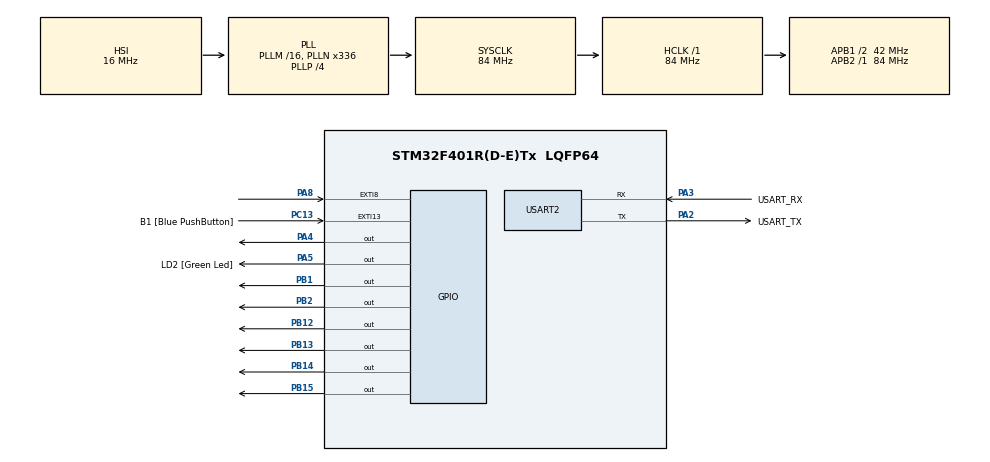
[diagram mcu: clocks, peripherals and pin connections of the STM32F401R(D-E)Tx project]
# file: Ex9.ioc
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Mcu.Family=STM32F4
Mcu.Name=STM32F401R(D-E)Tx
Mcu.Package=LQFP64
NVIC.EXTI9_5_IRQn=true\:0\:0\:false\:false\:true\:true\:true\:true
NVIC.PriorityGroup=NVIC_PRIORITYGROUP_0
PA13.GPIO_Label=TMS
PA13.Mode=Serial_Wire
PA13.Signal=SYS_JTMS-SWDIO
PA14.GPIO_Label=TCK
PA14.Mode=Serial_Wire
PA14.Signal=SYS_JTCK-SWCLK
PA2.GPIO_Label=USART_TX
PA2.GPIO_Mode=GPIO_MODE_AF_PP
PA2.GPIO_PuPd=GPIO_NOPULL
PA2.GPIO_Speed=GPIO_SPEED_FREQ_LOW
PA2.Mode=Asynchronous
PA2.Signal=USART2_TX
PA3.GPIO_Label=USART_RX
PA3.GPIO_Mode=GPIO_MODE_AF_PP
PA3.GPIO_PuPd=GPIO_NOPULL
PA3.GPIO_Speed=GPIO_SPEED_FREQ_LOW
PA3.Mode=Asynchronous
PA3.Signal=USART2_RX
PA4.Signal=GPIO_Output
PA5.GPIO_Label=LD2 [Green Led]
PA5.GPIO_Mode=GPIO_MODE_OUTPUT_PP
PA5.GPIO_PuPd=GPIO_NOPULL
PA5.GPIO_Speed=GPIO_SPEED_FREQ_LOW
PA5.Signal=GPIO_Output
PA8.Signal=GPXTI8
PB1.Signal=GPIO_Output
PB12.Signal=GPIO_Output
PB13.Signal=GPIO_Output
PB14.Signal=GPIO_Output
PB15.Signal=GPIO_Output
PB2.Signal=GPIO_Output
PB3.GPIO_Label=SWO
PB3.Signal=SYS_JTDO-SWO
PC13-ANTI_TAMP.GPIO_Label=B1 [Blue PushButton]
PC13-ANTI_TAMP.GPIO_ModeDefaultEXTI=GPIO_MODE_IT_FALLING
PC13-ANTI_TAMP.GPIO_PuPd=GPIO_NOPULL
PC13-ANTI_TAMP.Signal=GPXTI13
PC14-OSC32_IN.Mode=LSE-External-Oscillator
PC14-OSC32_IN.Signal=RCC_OSC32_IN
PC15-OSC32_OUT.Mode=LSE-External-Oscillator
PC15-OSC32_OUT.Signal=RCC_OSC32_OUT
PH0\ -\ OSC_IN.Mode=HSE-External-Clock-Source
PH0\ -\ OSC_IN.Signal=RCC_OSC_IN
PH1\ -\ OSC_OUT.Mode=HSE-External-Clock-Source
PH1\ -\ OSC_OUT.Signal=RCC_OSC_OUT
ProjectManager.HeapSize=0x200
ProjectManager.StackSize=0x400
ProjectManager.TargetToolchain=STM32CubeIDE
RCC.48MHZClocksFreq_Value=48000000
RCC.AHBFreq_Value=84000000
RCC.APB1CLKDivider=RCC_HCLK_DIV2
RCC.APB1Freq_Value=42000000
RCC.APB1TimFreq_Value=84000000
RCC.APB2Freq_Value=84000000
RCC.APB2TimFreq_Value=84000000
RCC.CortexFreq_Value=84000000
RCC.HCLKFreq_Value=84000000
RCC.HSE_VALUE=8000000
RCC.HSI_VALUE=16000000
RCC.PLLN=336
RCC.PLLP=RCC_PLLP_DIV4
RCC.PLLQ=7
RCC.SYSCLKFreq_VALUE=84000000
RCC.SYSCLKSource=RCC_SYSCLKSOURCE_PLLCLK
RCC.VCOOutputFreq_Value=336000000
USART2.VirtualMode=VM_ASYNC
board=NUCLEO-F401RE

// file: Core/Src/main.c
/* USER CODE BEGIN Header */
/**
  ******************************************************************************
  * @file           : main.c
  * @brief          : Main program body
  ******************************************************************************
  * @attention
  *
  * Copyright (c) 2023 STMicroelectronics.
  * All rights reserved.
  *
  * This software is licensed under terms that can be found in the LICENSE file
  * in the root directory of this software component.
  * If no LICENSE file comes with this software, it is provided AS-IS.
  *
  ******************************************************************************
  */
/* USER CODE END Header */
#include "main.h"

/* USER CODE BEGIN Includes */
#include "PMDB16_LCD.h"

/* USER CODE END Includes */

UART_HandleTypeDef huart2;

/* USER CODE BEGIN PV */
int snap=0;
char names[][20]={" ","GIADA", "WILLIAM", "FRANCESCO", "PAOLO", "FRANCESCO"};
char last_name[20];
/* USER CODE END PV */

void SystemClock_Config(void);
static void MX_GPIO_Init(void);
static void MX_USART2_UART_Init(void);

/* USER CODE BEGIN 0 */
void HAL_GPIO_EXTI_Callback(uint16_t GPIO_Pin){
	snap=1;
}
/* USER CODE END 0 */

int main(void)
{

  /* MCU Configuration--------------------------------------------------------*/

  /* Reset of all peripherals, Initializes the Flash interface and the Systick. */
  HAL_Init();

  /* Configure the system clock */
  SystemClock_Config();

  /* Initialize all configured peripherals */
  MX_GPIO_Init();
  MX_USART2_UART_Init();
  /* USER CODE BEGIN 2 */
  lcd_initialize();
  lcd_clear();
  lcd_backlight_ON();
  /* USER CODE END 2 */

  /* Infinite loop */
  /* USER CODE BEGIN WHILE */
  while (1)
  {
	  if(snap==0){
		  for (int i=0; i<sizeof(names);i++){
			  if(snap==1)
				  break;
			  lcd_println(names[i], 0);
			  if(i==5)
				  i=-1;
			  lcd_println(names[i+1], 1);
			  strcpy(last_name, names[i+1]);
			  HAL_Delay(1000);
		  }
	  }else if(snap==1){
		  lcd_clear();
		  HAL_Delay(500);
		  lcd_println(last_name, 1);
		  HAL_Delay(500);
	  }
    /* USER CODE END WHILE */

  }
}

void SystemClock_Config(void)
{
  RCC_OscInitTypeDef RCC_OscInitStruct = {0};
  RCC_ClkInitTypeDef RCC_ClkInitStruct = {0};

  /** Configure the main internal regulator output voltage
  */
  __HAL_RCC_PWR_CLK_ENABLE();
  __HAL_PWR_VOLTAGESCALING_CONFIG(PWR_REGULATOR_VOLTAGE_SCALE2);

  /** Initializes the RCC Oscillators according to the specified parameters
  * in the RCC_OscInitTypeDef structure.
  */
  RCC_OscInitStruct.OscillatorType = RCC_OSCILLATORTYPE_HSI;
  RCC_OscInitStruct.HSIState = RCC_HSI_ON;
  RCC_OscInitStruct.HSICalibrationValue = RCC_HSICALIBRATION_DEFAULT;
  RCC_OscInitStruct.PLL.PLLState = RCC_PLL_ON;
  RCC_OscInitStruct.PLL.PLLSource = RCC_PLLSOURCE_HSI;
  RCC_OscInitStruct.PLL.PLLM = 16;
  RCC_OscInitStruct.PLL.PLLN = 336;
  RCC_OscInitStruct.PLL.PLLP = RCC_PLLP_DIV4;
  RCC_OscInitStruct.PLL.PLLQ = 7;
  if (HAL_RCC_OscConfig(&RCC_OscInitStruct) != HAL_OK)
  {
    Error_Handler();
  }

  /** Initializes the CPU, AHB and APB buses clocks
  */
  RCC_ClkInitStruct.ClockType = RCC_CLOCKTYPE_HCLK|RCC_CLOCKTYPE_SYSCLK
                              |RCC_CLOCKTYPE_PCLK1|RCC_CLOCKTYPE_PCLK2;
  RCC_ClkInitStruct.SYSCLKSource = RCC_SYSCLKSOURCE_PLLCLK;
  RCC_ClkInitStruct.AHBCLKDivider = RCC_SYSCLK_DIV1;
  RCC_ClkInitStruct.APB1CLKDivider = RCC_HCLK_DIV2;
  RCC_ClkInitStruct.APB2CLKDivider = RCC_HCLK_DIV1;

  if (HAL_RCC_ClockConfig(&RCC_ClkInitStruct, FLASH_LATENCY_2) != HAL_OK)
  {
    Error_Handler();
  }
}

static void MX_USART2_UART_Init(void)
{

  huart2.Instance = USART2;
  huart2.Init.BaudRate = 115200;
  huart2.Init.WordLength = UART_WORDLENGTH_8B;
  huart2.Init.StopBits = UART_STOPBITS_1;
  huart2.Init.Parity = UART_PARITY_NONE;
  huart2.Init.Mode = UART_MODE_TX_RX;
  huart2.Init.HwFlowCtl = UART_HWCONTROL_NONE;
  huart2.Init.OverSampling = UART_OVERSAMPLING_16;
  if (HAL_UART_Init(&huart2) != HAL_OK)
  {
    Error_Handler();
  }

}

static void MX_GPIO_Init(void)
{
  GPIO_InitTypeDef GPIO_InitStruct = {0};

  /* GPIO Ports Clock Enable */
  __HAL_RCC_GPIOC_CLK_ENABLE();
  __HAL_RCC_GPIOH_CLK_ENABLE();
  __HAL_RCC_GPIOA_CLK_ENABLE();
  __HAL_RCC_GPIOB_CLK_ENABLE();

  /*Configure GPIO pin Output Level */
  HAL_GPIO_WritePin(GPIOA, GPIO_PIN_4|LD2_Pin, GPIO_PIN_RESET);

  /*Configure GPIO pin Output Level */
  HAL_GPIO_WritePin(GPIOB, GPIO_PIN_1|GPIO_PIN_2|GPIO_PIN_12|GPIO_PIN_13
                          |GPIO_PIN_14|GPIO_PIN_15, GPIO_PIN_RESET);

  /*Configure GPIO pin : B1_Pin */
  GPIO_InitStruct.Pin = B1_Pin;
  GPIO_InitStruct.Mode = GPIO_MODE_IT_FALLING;
  GPIO_InitStruct.Pull = GPIO_NOPULL;
  HAL_GPIO_Init(B1_GPIO_Port, &GPIO_InitStruct);

  /*Configure GPIO pins : PA4 LD2_Pin */
  GPIO_InitStruct.Pin = GPIO_PIN_4|LD2_Pin;
  GPIO_InitStruct.Mode = GPIO_MODE_OUTPUT_PP;
  GPIO_InitStruct.Pull = GPIO_NOPULL;
  GPIO_InitStruct.Speed = GPIO_SPEED_FREQ_LOW;
  HAL_GPIO_Init(GPIOA, &GPIO_InitStruct);

  /*Configure GPIO pins : PB1 PB2 PB12 PB13
                           PB14 PB15 */
  GPIO_InitStruct.Pin = GPIO_PIN_1|GPIO_PIN_2|GPIO_PIN_12|GPIO_PIN_13
                          |GPIO_PIN_14|GPIO_PIN_15;
  GPIO_InitStruct.Mode = GPIO_MODE_OUTPUT_PP;
  GPIO_InitStruct.Pull = GPIO_NOPULL;
  GPIO_InitStruct.Speed = GPIO_SPEED_FREQ_LOW;
  HAL_GPIO_Init(GPIOB, &GPIO_InitStruct);

  /*Configure GPIO pin : PA8 */
  GPIO_InitStruct.Pin = GPIO_PIN_8;
  GPIO_InitStruct.Mode = GPIO_MODE_IT_RISING;
  GPIO_InitStruct.Pull = GPIO_NOPULL;
  HAL_GPIO_Init(GPIOA, &GPIO_InitStruct);

  /* EXTI interrupt init*/
  HAL_NVIC_SetPriority(EXTI9_5_IRQn, 0, 0);
  HAL_NVIC_EnableIRQ(EXTI9_5_IRQn);

}

void Error_Handler(void)
{
  __disable_irq();
  while (1)
  {
  }
}
